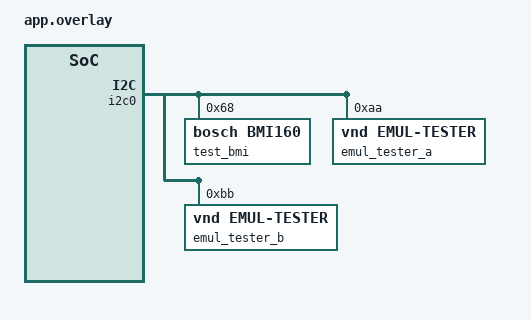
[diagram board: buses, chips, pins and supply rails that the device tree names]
/*
 * Copyright 2022 Google LLC
 *
 * SPDX-License-Identifier: Apache-2.0
 *
 * Application overlay for testing the emul.h API.
 *
 * Names in this file should be chosen in a way that won't conflict
 * with real-world devicetree nodes, to allow these tests to run on
 * (and be extended to test) real hardware.
 */

&i2c0 {
	test_bmi: bmi@68 {
		compatible = "bosch,bmi160";
		reg = <0x68>;
		status = "okay";
	};

	emul_tester_a: driver@aa {
		compatible = "vnd,emul-tester";
                reg = <0xaa>;
		status = "okay";
		scale = <1>;
	};
	emul_tester_b: driver@bb {
		compatible = "vnd,emul-tester";
                reg = <0xbb>;
		status = "okay";
		scale = <10>;
	};
};
